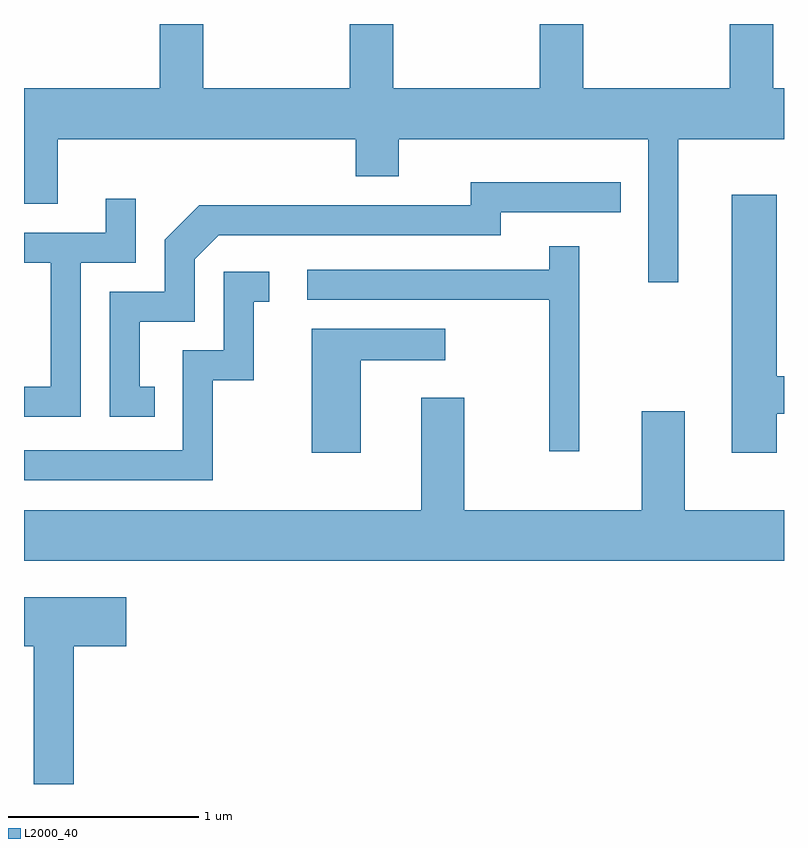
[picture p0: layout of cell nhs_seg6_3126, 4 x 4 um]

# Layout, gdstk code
import gdstk
lib = gdstk.Library(unit=1e-6, precision=1e-09)
def P(c, l, *ps):  # polygons
    for p in ps: c.add(gdstk.Polygon(p, *l))
L2000_40 = (2000, 40)

nhs_seg6_3126 = lib.new_cell('nhs_seg6_3126')
P(nhs_seg6_3126, L2000_40, [(283.054,1585.556),(283.611,1585.556),(283.611,1585.824),(283.554,1585.824),(283.554,1586.162),(283.326,1586.162),(283.326,1585.824),(282.554,1585.824),(282.554,1586.162),(282.326,1586.162),(282.326,1585.824),(281.554,1585.824),(281.554,1586.162),(281.326,1586.162),(281.326,1585.824),(280.554,1585.824),(280.554,1586.162),(280.326,1586.162),(280.326,1585.824),(279.611,1585.824),(279.611,1585.216),(279.789,1585.216),(279.789,1585.556),(281.356,1585.556),(281.356,1585.361),(281.584,1585.361),(281.584,1585.556),(282.896,1585.556),(282.896,1584.803),(283.054,1584.803)],
  [(280.298,1584.254),(280.219,1584.254),(280.219,1584.596),(280.509,1584.596),(280.509,1584.924),(280.637,1585.051),(282.119,1585.051),(282.119,1585.171),(282.753,1585.171),(282.753,1585.329),(281.961,1585.329),(281.961,1585.209),(280.534,1585.209),(280.351,1585.027),(280.351,1584.754),(280.061,1584.754),(280.061,1584.096),(280.298,1584.096)],
  [(283.574,1584.111),(283.611,1584.111),(283.611,1584.309),(283.574,1584.309),(283.574,1585.264),(283.336,1585.264),(283.336,1583.906),(283.574,1583.906)],
  [(279.909,1584.906),(280.199,1584.906),(280.199,1585.243),(280.041,1585.243),(280.041,1585.064),(279.611,1585.064),(279.611,1584.906),(279.751,1584.906),(279.751,1584.254),(279.611,1584.254),(279.611,1584.096),(279.909,1584.096)],
  [(282.534,1584.993),(282.376,1584.993),(282.376,1584.869),(281.103,1584.869),(281.103,1584.711),(282.376,1584.711),(282.376,1583.913),(282.534,1583.913)],
  [(280.604,1584.286),(280.819,1584.286),(280.819,1584.701),(280.903,1584.701),(280.903,1584.859),(280.661,1584.859),(280.661,1584.444),(280.446,1584.444),(280.446,1583.919),(279.611,1583.919),(279.611,1583.761),(280.604,1583.761)],
  [(281.384,1584.391),(281.828,1584.391),(281.828,1584.559),(281.126,1584.559),(281.126,1583.906),(281.384,1583.906)],
  [(283.611,1583.604),(283.089,1583.604),(283.089,1584.124),(282.861,1584.124),(282.861,1583.604),(281.929,1583.604),(281.929,1584.194),(281.701,1584.194),(281.701,1583.604),(279.611,1583.604),(279.611,1583.336),(283.611,1583.336)],
  [(279.874,1582.886),(280.149,1582.886),(280.149,1583.144),(279.611,1583.144),(279.611,1582.886),(279.661,1582.886),(279.661,1582.162),(279.874,1582.162)])

lib.write_gds('nhs_seg6_3126.gds')
